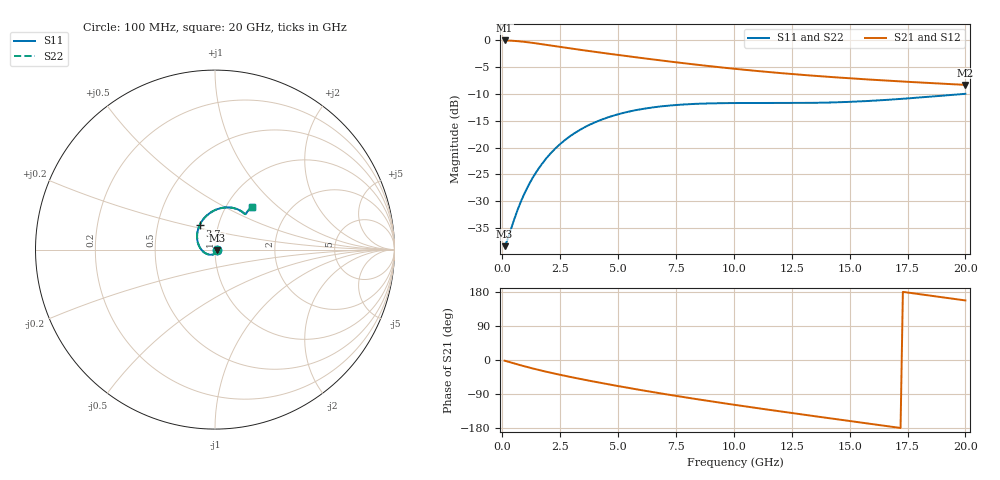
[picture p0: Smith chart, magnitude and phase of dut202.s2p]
! Created with skrf 1.9.0 (http://scikit-rf.org).
# GHz S RI R 50.0
!freq ReS11 ImS11 ReS21 ImS21 ReS12 ImS12 ReS22 ImS22
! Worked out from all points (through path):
!   200 points, 100 MHz to 20 GHz, reference 50 ohm
!   highest |S21| = -0.10 dB at 100 MHz (marker M1); lowest = -8.4 dB at 20 GHz (marker M2)
!   group delay of S21, straight-line fit = 26.6 ps
!   lowest |S11| = -38.3 dB at 100 MHz (marker M3), VSWR 1.02, Z = 51.1 - j0.474 ohm
!   |S11| at or under -10 dB: start of sweep to end of sweep
!   |S22| runs from -38.3 to -10.0 dB; largest |S21 - S12| = 2.3e-15
!   S11 on the Smith chart (normalised r, x): 100 MHz: 1.02, -0.01; 3.7 GHz: 0.81, +0.23; 20 GHz: 1.32, +0.69
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0.1  0.0112 -0.00463  0.9875 -0.0309  0.9875 -0.0309  0.0112 -0.00463
0.2  0.00988 -0.0092  0.985 -0.0617  0.985 -0.0617  0.00988 -0.0092
0.6  -0.00365 -0.024  0.9592 -0.1797  0.9592 -0.1797  -0.00365 -0.024
0.8  -0.0143 -0.0278  0.9384 -0.2342  0.9384 -0.2342  -0.0143 -0.0278
1.1  -0.033 -0.0279  0.8996 -0.3087  0.8996 -0.3087  -0.033 -0.0279
1.5  -0.0582 -0.0171  0.8384 -0.3936  0.8384 -0.3936  -0.0582 -0.0171
1.9  -0.0793 0.00374  0.7715 -0.463  0.7715 -0.463  -0.0793 0.00374
2.4  -0.0956 0.0386  0.6852 -0.5313  0.6852 -0.5313  -0.0956 0.0386
2.9  -0.1 0.077  0.5991 -0.5831  0.5991 -0.5831  -0.1 0.077
3.5  -0.0915 0.1214  0.498 -0.6278  0.498 -0.6278  -0.0915 0.1214
3.7  -0.0861 0.1349  0.465 -0.639  0.465 -0.639  -0.0861 0.1349
4.4  -0.0599 0.1754  0.3532 -0.6659  0.3532 -0.6659  -0.0599 0.1754
5.1  -0.0273 0.2045  0.2479 -0.6758  0.2479 -0.6758  -0.0273 0.2045
6.8  0.0529 0.2344  0.0257 -0.6457  0.0257 -0.6457  0.0529 0.2344
8.4  0.1095 0.2301  -0.1355 -0.572  -0.1355 -0.572  0.1095 0.2301
10.1  0.145 0.2146  -0.2597 -0.47  -0.2597 -0.47  0.145 0.2146
11.7  0.1614 0.2025  -0.3397 -0.3646  -0.3397 -0.3646  0.1614 0.2025
13.4  0.1689 0.1977  -0.3924 -0.25  -0.3924 -0.25  0.1689 0.1977
15  0.1733 0.2013  -0.4159 -0.1433  -0.4159 -0.1433  0.1733 0.2013
16.7  0.1802 0.2118  -0.4159 -0.0347  -0.4159 -0.0347  0.1802 0.2118
18.3  0.1911 0.2245  -0.3947 0.0597  -0.3947 0.0597  0.1911 0.2245
20  0.2079 0.2373  -0.3522 0.1482  -0.3522 0.1482  0.2079 0.2373
